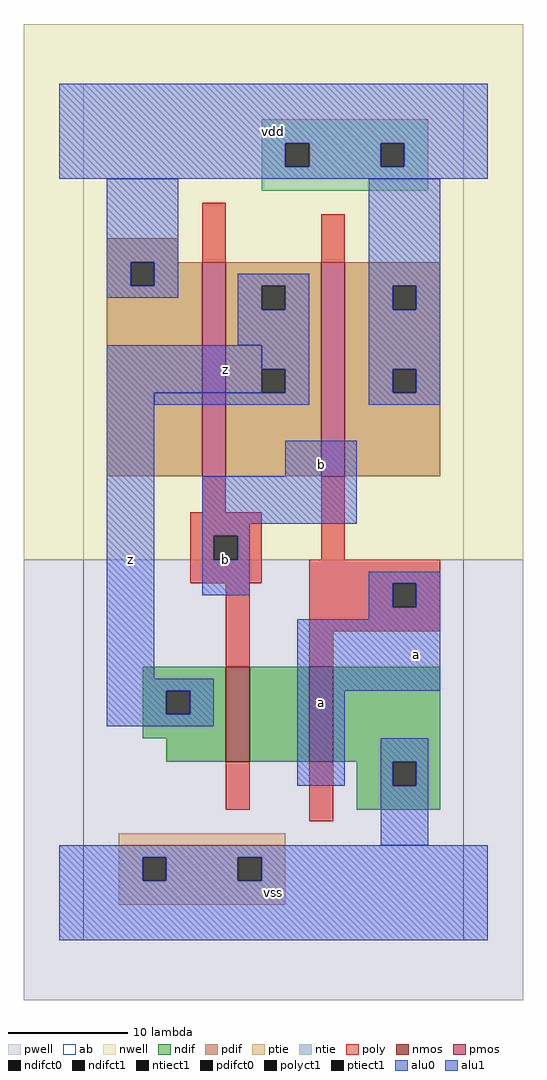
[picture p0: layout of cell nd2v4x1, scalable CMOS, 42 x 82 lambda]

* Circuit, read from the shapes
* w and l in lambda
.subckt nd2v4x1 a b vdd vss z
M1 n1 b z vss nfet w=8 l=2
M2 vss a n1 vss nfet w=8 l=2
M3 z b vdd vdd pfet w=18 l=2
M4 vdd a z vdd pfet w=18 l=2
.ends

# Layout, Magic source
magic
tech scmos
<< ab >>
rect 0 0 32 72
<< nwell >>
rect -5 32 37 77
<< pwell >>
rect -5 -5 37 32
<< poly >>
rect 10 57 12 62
rect 20 57 22 61
rect 10 36 12 39
rect 9 34 15 36
rect 9 32 11 34
rect 13 32 15 34
rect 20 32 22 39
rect 9 30 15 32
rect 19 30 30 32
rect 12 23 14 30
rect 19 28 26 30
rect 28 28 30 30
rect 19 26 30 28
rect 19 23 21 26
rect 12 11 14 15
rect 19 10 21 15
<< ndif >>
rect 5 21 12 23
rect 5 19 7 21
rect 9 19 12 21
rect 5 17 12 19
rect 7 15 12 17
rect 14 15 19 23
rect 21 15 30 23
rect 23 13 26 15
rect 28 13 30 15
rect 23 11 30 13
<< pdif >>
rect 2 57 8 59
rect 2 55 4 57
rect 6 55 10 57
rect 2 39 10 55
rect 12 55 20 57
rect 12 53 15 55
rect 17 53 20 55
rect 12 48 20 53
rect 12 46 15 48
rect 17 46 20 48
rect 12 39 20 46
rect 22 55 30 57
rect 22 53 26 55
rect 28 53 30 55
rect 22 48 30 53
rect 22 46 26 48
rect 28 46 30 48
rect 22 39 30 46
<< alu1 >>
rect -2 67 34 72
rect -2 65 17 67
rect 19 65 25 67
rect 27 65 34 67
rect -2 64 34 65
rect 2 46 15 50
rect 2 22 6 46
rect 17 39 23 42
rect 10 35 23 39
rect 10 34 14 35
rect 10 32 11 34
rect 13 32 14 34
rect 10 29 14 32
rect 24 30 30 31
rect 24 28 26 30
rect 28 28 30 30
rect 24 27 30 28
rect 2 21 11 22
rect 2 19 7 21
rect 9 19 11 21
rect 2 18 11 19
rect 18 21 30 27
rect 18 13 22 21
rect -2 7 34 8
rect -2 5 5 7
rect 7 5 13 7
rect 15 5 34 7
rect -2 0 34 5
<< ptie >>
rect 3 7 17 9
rect 3 5 5 7
rect 7 5 13 7
rect 15 5 17 7
rect 3 3 17 5
<< ntie >>
rect 15 67 29 69
rect 15 65 17 67
rect 19 65 25 67
rect 27 65 29 67
rect 15 63 29 65
<< nmos >>
rect 12 15 14 23
rect 19 15 21 23
<< pmos >>
rect 10 39 12 57
rect 20 39 22 57
<< polyct1 >>
rect 11 32 13 34
rect 26 28 28 30
<< ndifct0 >>
rect 26 13 28 15
<< ndifct1 >>
rect 7 19 9 21
<< ntiect1 >>
rect 17 65 19 67
rect 25 65 27 67
<< ptiect1 >>
rect 5 5 7 7
rect 13 5 15 7
<< pdifct0 >>
rect 4 55 6 57
rect 15 53 17 55
rect 15 46 17 48
rect 26 53 28 55
rect 26 46 28 48
<< alu0 >>
rect 2 57 8 64
rect 2 55 4 57
rect 6 55 8 57
rect 2 54 8 55
rect 13 55 19 56
rect 13 53 15 55
rect 17 53 19 55
rect 13 50 19 53
rect 15 48 19 50
rect 17 46 19 48
rect 6 45 19 46
rect 24 55 30 64
rect 24 53 26 55
rect 28 53 30 55
rect 24 48 30 53
rect 24 46 26 48
rect 28 46 30 48
rect 24 45 30 46
rect 25 15 29 17
rect 25 13 26 15
rect 28 13 29 15
rect 25 8 29 13
<< labels >>
rlabel alu1 4 32 4 32 6 z
rlabel alu1 12 32 12 32 6 b
rlabel alu1 12 48 12 48 6 z
rlabel alu1 16 4 16 4 6 vss
rlabel alu1 20 20 20 20 6 a
rlabel alu1 20 40 20 40 6 b
rlabel alu1 16 68 16 68 6 vdd
rlabel alu1 28 24 28 24 6 a
<< end >>
